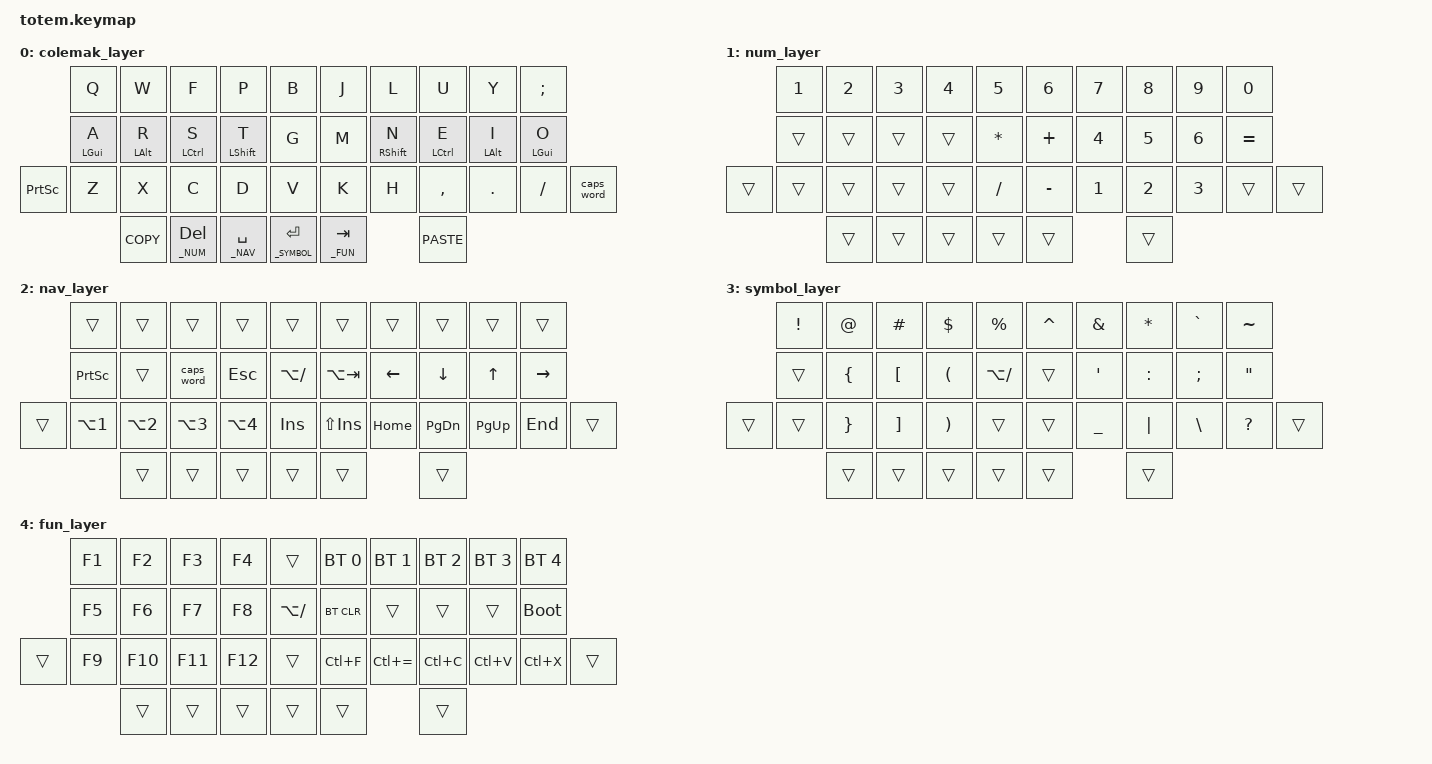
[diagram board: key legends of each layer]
/*
 * Copyright (c) 2020 The ZMK Contributors
 *
 * SPDX-License-Identifier: MIT
 * 
 * Totem Keyboard - Converted from QMK
 */

#include <behaviors.dtsi>
#include <dt-bindings/zmk/keys.h>
#include <dt-bindings/zmk/bt.h>

// Layer definitions
#define _COLEMAK 0
#define _NUM     1
#define _NAV     2
#define _SYMBOL  3
#define _FUN     4

/ {
    macros {
        // Screenshot macro (adapts to OS)
        snap: snap {
            compatible = "zmk,behavior-macro";
            #binding-cells = <0>;
            bindings = <&kp LS(LG(LC(N4)))>; 
        };
    };

    behaviors {
        // Home row mods - Colemak
        hm: homerow_mods {
            compatible = "zmk,behavior-hold-tap";
            #binding-cells = <2>;
            tapping-term-ms = <200>;
            quick-tap-ms = <0>;
            flavor = "tap-preferred";
            bindings = <&kp>, <&kp>;
        };

        // Layer taps
        lt_long: layer_tap_long {
            compatible = "zmk,behavior-hold-tap";
            #binding-cells = <2>;
            tapping-term-ms = <200>;
            quick-tap-ms = <0>;
            flavor = "tap-preferred";
            bindings = <&mo>, <&kp>;
        };
    };

    keymap {
        compatible = "zmk,keymap";

        // Layer 0: Colemak-DH
        colemak_layer {
            bindings = <
                         &kp Q       &kp W       &kp F                &kp P                    &kp B                &kp J       &kp L        &kp U        &kp Y        &kp SEMI
                         &hm LGUI A  &hm LALT R  &hm LCTRL S          &hm LSHFT T              &kp G                &kp M       &hm RSHFT N  &hm LCTRL E  &hm LALT I   &hm LGUI O
      &kp PRINTSCREEN    &kp Z       &kp X       &kp C                &kp D                    &kp V                &kp K       &kp H        &kp COMMA    &kp DOT      &kp SLASH    &caps_word
                                     &kp K_COPY  &lt_long _NUM DEL    &lt_long _NAV  SPACE     &lt_long _SYMBOL RET &lt_long _FUN TAB        &kp K_PASTE
            >;
        };

        // Layer 1: number (Numbers & Navigation)
        num_layer {
            bindings = <
                         &kp N1      &kp N2      &kp N3               &kp N4                   &kp N5               &kp N6      &kp N7       &kp N8       &kp N9       &kp N0
                         &trans      &trans      &trans               &trans                   &kp STAR             &kp PLUS    &kp N4       &kp N5       &kp N6       &kp EQUAL
            &trans       &trans      &trans      &trans               &trans                   &kp SLASH            &kp MINUS   &kp N1       &kp N2       &kp N3       &trans     &trans
                                                 &trans               &trans                   &trans               &trans      &trans       &trans
            >;
        };
        
        nav_layer {
            bindings = <
                         &trans       &trans     &trans      &trans     &trans        &trans         &trans       &trans      &trans      &trans
                         &kp PSCRN    &trans     &caps_word  &kp ESC    &kp LA(FSLH)  &kp LA(TAB)    &kp LEFT     &kp DOWN    &kp UP      &kp RIGHT
            &trans       &kp LA(N1)   &kp LA(N2) &kp LA(N3)  &kp LA(N4) &kp INS       &kp LS(INS)    &kp HOME     &kp PG_DN   &kp PG_UP   &kp END    &trans
                                                 &trans      &trans     &trans        &trans         &trans       &trans
            >;
        };

        // Layer 2: symbol (Symbols & Special Characters)
        symbol_layer {
            bindings = <
                         &kp EXCL     &kp AT     &kp HASH   &kp DLLR   &kp PRCNT     &kp CARET   &kp AMPS   &kp STAR   &kp GRAVE   &kp TILDE
                         &trans       &kp LBRC   &kp LBKT   &kp LPAR   &kp LA(FSLH)  &trans      &kp SQT    &kp COLON  &kp SEMI    &kp DQT
                 &trans  &trans       &kp RBRC   &kp RBKT   &kp RPAR   &trans        &trans      &kp UNDER  &kp PIPE   &kp BSLH    &kp QMARK   &trans
                                                 &trans     &trans     &trans        &trans      &trans     &trans
            >;
        };

        // Layer 3: functions (Functions, System)
        fun_layer {
            bindings = <
                          &kp F1      &kp F2      &kp F3    &kp F4    &trans        &bt BT_SEL 0 &bt BT_SEL 1     &bt BT_SEL 2  &bt BT_SEL 3  &bt BT_SEL 4
                          &kp F5      &kp F6      &kp F7    &kp F8    &kp LA(FSLH)  &bt BT_CLR   &trans           &trans        &trans        &bootloader
                  &trans  &kp F9      &kp F10     &kp F11   &kp F12   &trans        &kp LC(F)    &kp LC(EQUAL)    &kp LC(C)     &kp LC(V)     &kp LC(X)    &trans
                                                  &trans    &trans    &trans        &trans       &trans        &trans

            >;
        };
    };
};
